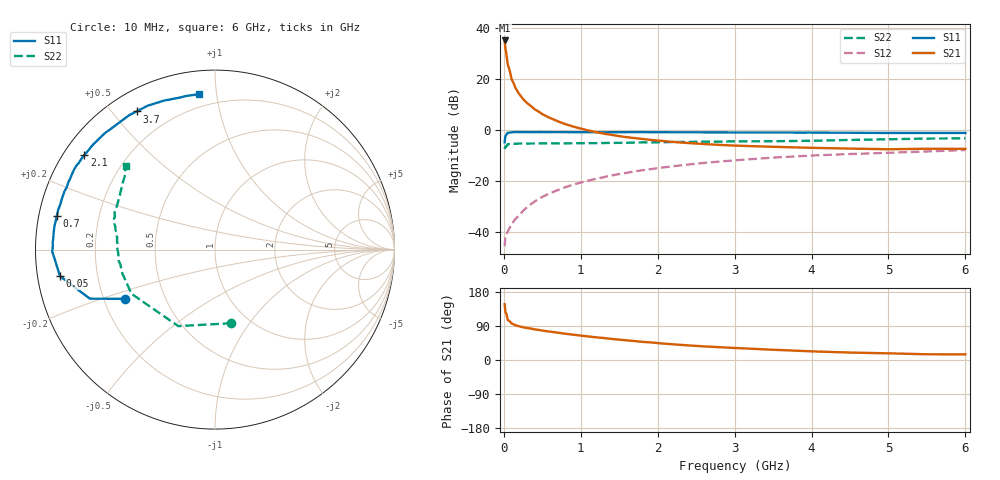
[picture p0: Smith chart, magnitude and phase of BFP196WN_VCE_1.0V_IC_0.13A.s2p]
! Infineon Technologies  Discrete & RF Semiconductors
! BFP196WN
! VCE =  1.0 V,  IC = 0.13 A
! Common Emitter S-Parameters:  Jan 2017
# GHz  S  MA  R  50
!  f  S11  S21  S12  S22
! GHz  MAG  ANG  MAG  ANG  MAG  ANG  MAG  ANG
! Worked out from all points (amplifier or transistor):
!   77 points, 10 MHz to 6 GHz, reference 50 ohm
!   highest |S21| = 35.0 dB at 10 MHz (marker M1)
!   |S21| within 3 dB of that: start of sweep to 20.11 MHz
!   unconditionally stable (mu >= 1): start of sweep to 10.35 MHz; 167.4 MHz to end of sweep
!   at 130 MHz: K = 0.93, MSG = 26.9 dB, |S12| = -35.7 dB
!   at 2.2 GHz: K = 1.10, MAG = 2.8 dB, |S12| = -14.2 dB
!   at 6 GHz: K = 1.04, MAG = -1.1 dB, |S12| = -7.9 dB
!   S11 on the Smith chart (normalised r, x): 10 MHz: 0.29, -0.24; 50 MHz: 0.07, -0.08; 700 MHz: 0.05, +0.11; 2.1 GHz: 0.06, +0.32; 3.7 GHz: 0.08, +0.58; 6 GHz: 0.13, +0.90
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0.01  0.5697 -151.2  56.08 147.3  0.0053 56.8  0.42 -77.4
0.02  0.7489 -158.6  39.79 127.2  0.0078 48.7  0.4729 -115.6
0.03  0.7876 -162.9  32.56 123.1  0.0086 46.3  0.4681 -128.5
0.05  0.8765 -170.3  19.2 105.6  0.0102 42.6  0.5264 -152.1
0.1  0.8944 -176.6  9.898 96.2  0.014 52.0  0.533 -165.5
0.15  0.9067 -179.2  6.667 91.7  0.018 57.3  0.5342 -171.2
0.2  0.904 178.8  5.012 88.9  0.0213 64.2  0.5407 -173.6
0.25  0.9053 177.5  4.015 86.4  0.0261 66.1  0.5398 -175.3
0.3  0.9032 176.0  3.353 84.5  0.0303 68.1  0.5393 -177.1
0.4  0.9039 173.6  2.53 80.8  0.0396 71.0  0.5406 -178.7
0.5  0.9041 171.6  2.034 77.7  0.0489 72.3  0.5439 179.7
0.6  0.9015 169.5  1.707 74.8  0.0574 72.0  0.5458 178.3
0.7  0.9009 167.9  1.472 72.2  0.0662 72.4  0.5439 177.1
0.9  0.8979 163.9  1.161 66.8  0.0845 71.4  0.547 175.5
1.1  0.899 160.6  0.972 62.1  0.1018 70.4  0.549 173.5
1.5  0.8988 154.0  0.753 53.7  0.1364 66.8  0.5564 170.3
2.1  0.8979 144.1  0.599 43.0  0.1861 61.2  0.5742 166.3
3.1  0.8866 128.6  0.487 30.8  0.2597 50.5  0.5966 159.0
3.7  0.8853 119.6  0.457 25.4  0.2972 44.3  0.6036 153.1
4.1  0.8827 113.9  0.442 22.2  0.3184 40.2  0.6159 148.7
5.1  0.8699 103.3  0.419 17.1  0.3602 31.9  0.6583 139.3
6  0.8705 95.7  0.425 14.9  0.4033 25.5  0.6814 136.7
